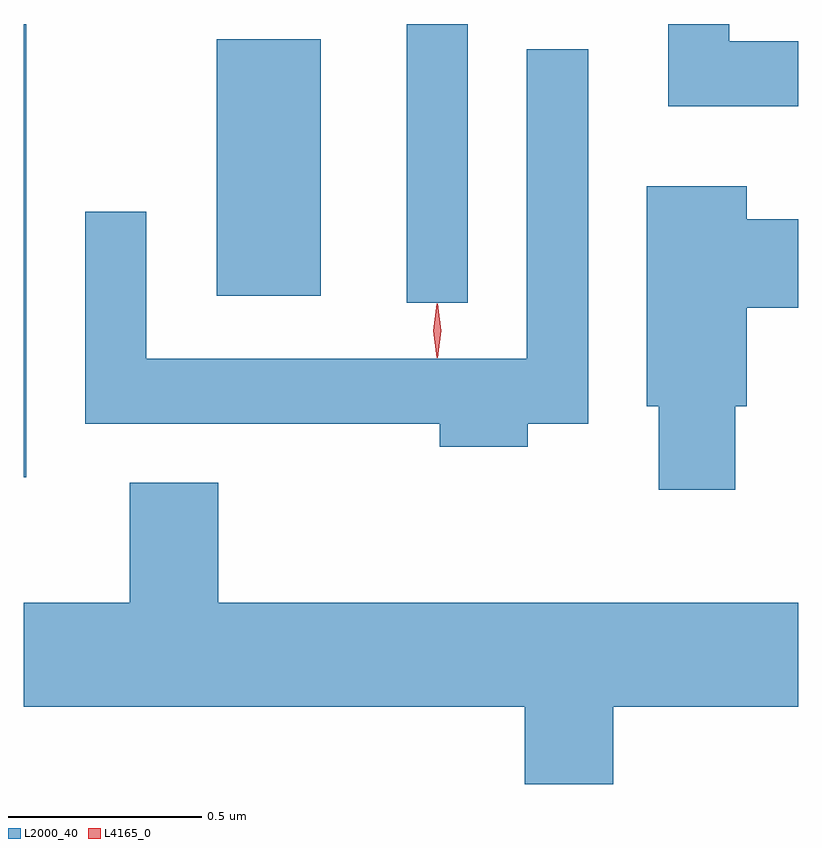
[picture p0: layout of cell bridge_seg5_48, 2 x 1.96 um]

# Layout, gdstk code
import gdstk
lib = gdstk.Library(unit=1e-6, precision=1e-09)
def R(c, l, rs):  # rectangles x0, y0, x1, y1
    for r in rs: c.add(gdstk.rectangle(r[:2], r[2:], *l))
def P(c, l, *ps):  # polygons
    for p in ps: c.add(gdstk.Polygon(p, *l))
L2000_40 = (2000, 40)
L4165_0 = (4165, 0)

bridge_seg5_48 = lib.new_cell('bridge_seg5_48')
R(bridge_seg5_48, L2000_40, [(1338.827,1472.928,1338.834,1474.098), (1339.816,1473.378,1339.974,1474.098), (1339.326,1473.396,1339.594,1474.059)])
P(bridge_seg5_48, L2000_40, [(1340.827,1474.054),(1340.649,1474.054),(1340.649,1474.098),(1340.491,1474.098),(1340.491,1473.886),(1340.827,1473.886)],
  [(1340.129,1473.066),(1340.284,1473.066),(1340.284,1474.033),(1340.126,1474.033),(1340.126,1473.234),(1339.144,1473.234),(1339.144,1473.613),(1338.986,1473.613),(1338.986,1473.066),(1339.901,1473.066),(1339.901,1473.006),(1340.129,1473.006)],
  [(1340.664,1473.111),(1340.694,1473.111),(1340.694,1473.366),(1340.827,1473.366),(1340.827,1473.594),(1340.694,1473.594),(1340.694,1473.679),(1340.436,1473.679),(1340.436,1473.111),(1340.466,1473.111),(1340.466,1472.896),(1340.664,1472.896)],
  [(1340.349,1472.336),(1340.827,1472.336),(1340.827,1472.604),(1339.329,1472.604),(1339.329,1472.914),(1339.101,1472.914),(1339.101,1472.604),(1338.827,1472.604),(1338.827,1472.336),(1340.121,1472.336),(1340.121,1472.136),(1340.349,1472.136)])
P(bridge_seg5_48, L4165_0, [(1339.894,1473.237),(1339.885,1473.306),(1339.894,1473.376),(1339.895,1473.376),(1339.896,1473.376),(1339.905,1473.306),(1339.896,1473.237),(1339.895,1473.237)],
  [(1339.895,1473.24),(1339.885,1473.306),(1339.894,1473.372),(1339.895,1473.373),(1339.896,1473.372),(1339.905,1473.306),(1339.896,1473.24),(1339.896,1473.24)])

lib.write_gds('bridge_seg5_48.gds')
